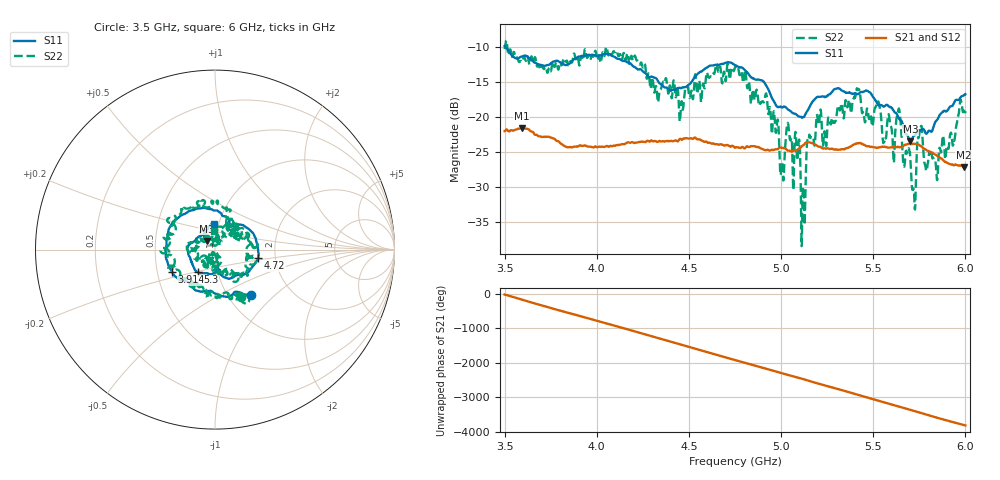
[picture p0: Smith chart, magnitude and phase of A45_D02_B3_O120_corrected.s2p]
! Created with skrf 1.9.0 (http://scikit-rf.org).
# Hz S RI R 50.0
!freq ReS11 ImS11 ReS21 ImS21 ReS12 ImS12 ReS22 ImS22
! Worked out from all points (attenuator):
!   1601 points, 3.5 GHz to 6 GHz, reference 50 ohm
!   highest |S21| = -21.59 dB at 3.592 GHz (marker M1); lowest = -27.1 dB at 5.992 GHz (marker M2)
!   lowest |S11| = -23.5 dB at 5.702 GHz (marker M3), VSWR 1.14, Z = 45.4 + j4.45 ohm
!   |S11| at or under -10 dB: 3.504 GHz to end of sweep
!   |S22| runs from -38.4 to -9.1 dB; largest |S21 - S12| = 0.00096
!   S11 on the Smith chart (normalised r, x): 3.5 GHz: 1.27, -0.71; 3.914 GHz: 0.60, -0.16; 4.72 GHz: 1.62, -0.16; 5.3 GHz: 0.80, -0.21; 6 GHz: 0.95, +0.28
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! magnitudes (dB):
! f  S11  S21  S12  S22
! 3.5 GHz  -9.9  -22.0  -22.0  -10.3
! 3.592 GHz  -11.4  -21.6  -21.6  -12.1
! 3.914 GHz  -11.4  -24.1  -24.0  -11.4
! 3.917 GHz  -11.4  -24.1  -24.1  -11.3
! 4.334 GHz  -15.0  -23.5  -23.4  -17.7
! 4.72 GHz  -12.2  -24.2  -24.2  -14.5
! 4.75 GHz  -12.6  -24.4  -24.3  -12.9
! 4.927 GHz  -15.8  -24.7  -24.7  -18.5
! 5.005 GHz  -18.6  -24.4  -24.4  -26.6
! 5.036 GHz  -18.9  -24.8  -24.7  -20.9
! 5.089 GHz  -19.8  -24.7  -24.7  -26.0
! 5.12 GHz  -20.1  -24.1  -24.0  -30.0
! 5.167 GHz  -18.0  -23.7  -23.7  -23.0
! 5.3 GHz  -16.0  -24.6  -24.6  -20.0
! 5.417 GHz  -16.7  -23.8  -23.8  -16.2
! 5.584 GHz  -18.5  -24.4  -24.4  -19.6
! 5.702 GHz  -23.5  -23.9  -23.9  -26.1
! 5.72 GHz  -22.7  -23.8  -23.8  -30.5
! 5.753 GHz  -21.9  -24.1  -24.0  -22.1
! 5.841 GHz  -20.6  -25.4  -25.4  -27.2
! 5.992 GHz  -16.9  -27.1  -27.1  -18.9
! 6 GHz  -16.8  -27.1  -27.1  -19.5
